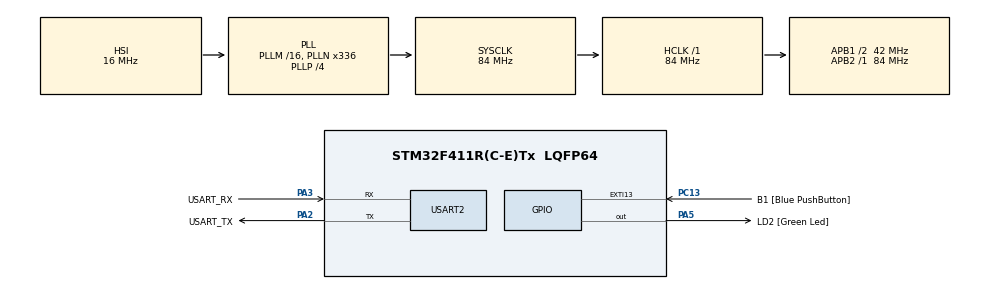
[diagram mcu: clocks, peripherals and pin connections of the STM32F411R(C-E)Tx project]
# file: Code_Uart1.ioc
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Dma.Request0=USART2_RX
Dma.Request1=USART2_TX
Dma.USART2_RX.0.Direction=DMA_PERIPH_TO_MEMORY
Dma.USART2_RX.0.FIFOMode=DMA_FIFOMODE_DISABLE
Dma.USART2_RX.0.Instance=DMA1_Stream5
Dma.USART2_RX.0.MemDataAlignment=DMA_MDATAALIGN_BYTE
Dma.USART2_RX.0.MemInc=DMA_MINC_ENABLE
Dma.USART2_RX.0.Mode=DMA_CIRCULAR
Dma.USART2_RX.0.PeriphDataAlignment=DMA_PDATAALIGN_BYTE
Dma.USART2_RX.0.PeriphInc=DMA_PINC_DISABLE
Dma.USART2_RX.0.Priority=DMA_PRIORITY_LOW
Dma.USART2_TX.1.Direction=DMA_MEMORY_TO_PERIPH
Dma.USART2_TX.1.FIFOMode=DMA_FIFOMODE_DISABLE
Dma.USART2_TX.1.Instance=DMA1_Stream6
Dma.USART2_TX.1.MemDataAlignment=DMA_MDATAALIGN_BYTE
Dma.USART2_TX.1.MemInc=DMA_MINC_ENABLE
Dma.USART2_TX.1.Mode=DMA_NORMAL
Dma.USART2_TX.1.PeriphDataAlignment=DMA_PDATAALIGN_BYTE
Dma.USART2_TX.1.PeriphInc=DMA_PINC_DISABLE
Dma.USART2_TX.1.Priority=DMA_PRIORITY_LOW
Mcu.Family=STM32F4
Mcu.Name=STM32F411R(C-E)Tx
Mcu.Package=LQFP64
NVIC.DMA1_Stream5_IRQn=true\:0\:0\:false\:false\:true\:false\:true\:true
NVIC.DMA1_Stream6_IRQn=true\:0\:0\:false\:false\:true\:false\:true\:true
NVIC.PriorityGroup=NVIC_PRIORITYGROUP_0
NVIC.USART2_IRQn=true\:0\:0\:false\:false\:true\:true\:true\:true
PA13.GPIO_Label=TMS
PA13.Mode=Serial_Wire
PA13.Signal=SYS_JTMS-SWDIO
PA14.GPIO_Label=TCK
PA14.Mode=Serial_Wire
PA14.Signal=SYS_JTCK-SWCLK
PA2.GPIO_Label=USART_TX
PA2.Mode=Asynchronous
PA2.Signal=USART2_TX
PA3.GPIO_Label=USART_RX
PA3.Mode=Asynchronous
PA3.Signal=USART2_RX
PA5.GPIO_Label=LD2 [Green Led]
PA5.Signal=GPIO_Output
PB3.GPIO_Label=SWO
PB3.Signal=SYS_JTDO-SWO
PC13-ANTI_TAMP.GPIO_Label=B1 [Blue PushButton]
PC13-ANTI_TAMP.GPIO_ModeDefaultEXTI=GPIO_MODE_IT_FALLING
PC13-ANTI_TAMP.Signal=GPXTI13
PC14-OSC32_IN.Mode=LSE-External-Oscillator
PC14-OSC32_IN.Signal=RCC_OSC32_IN
PC15-OSC32_OUT.Mode=LSE-External-Oscillator
PC15-OSC32_OUT.Signal=RCC_OSC32_OUT
PH0\ -\ OSC_IN.Mode=HSE-External-Clock-Source
PH0\ -\ OSC_IN.Signal=RCC_OSC_IN
PH1\ -\ OSC_OUT.Mode=HSE-External-Clock-Source
PH1\ -\ OSC_OUT.Signal=RCC_OSC_OUT
ProjectManager.HeapSize=0x200
ProjectManager.StackSize=0x400
ProjectManager.TargetToolchain=STM32CubeIDE
RCC.48MHZClocksFreq_Value=84000000
RCC.AHBFreq_Value=84000000
RCC.APB1CLKDivider=RCC_HCLK_DIV2
RCC.APB1Freq_Value=42000000
RCC.APB1TimFreq_Value=84000000
RCC.APB2Freq_Value=84000000
RCC.APB2TimFreq_Value=84000000
RCC.CortexFreq_Value=84000000
RCC.FLatency-AdvancedSettings=FLASH_LATENCY_2
RCC.HCLKFreq_Value=84000000
RCC.HSE_VALUE=8000000
RCC.HSI_VALUE=16000000
RCC.PLLN=336
RCC.PLLP=RCC_PLLP_DIV4
RCC.SYSCLKFreq_VALUE=84000000
RCC.SYSCLKSource=RCC_SYSCLKSOURCE_PLLCLK
RCC.VCOOutputFreq_Value=336000000
USART2.VirtualMode=VM_ASYNC
board=NUCLEO-F411RE

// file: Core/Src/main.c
/* USER CODE BEGIN Header */
/**
  ******************************************************************************
  * @file           : main.c
  * @brief          : Main program body
  ******************************************************************************
  * @attention
  *
  * Copyright (c) 2023 STMicroelectronics.
  * All rights reserved.
  *
  * This software is licensed under terms that can be found in the LICENSE file
  * in the root directory of this software component.
  * If no LICENSE file comes with this software, it is provided AS-IS.
  *
  ******************************************************************************
  */
/* USER CODE END Header */
#include "main.h"

/* USER CODE BEGIN Includes */
#include "stdio.h"
#include "string.h"
/* USER CODE END Includes */

UART_HandleTypeDef huart2;
DMA_HandleTypeDef hdma_usart2_rx;
DMA_HandleTypeDef hdma_usart2_tx;

/* USER CODE BEGIN PV */
uint8_t RxBuffer[20]; //Size of RX
uint8_t TxBuffer[40]; //Size of TX
/* USER CODE END PV */

void SystemClock_Config(void);
static void MX_GPIO_Init(void);
static void MX_DMA_Init(void);
static void MX_USART2_UART_Init(void);
/* USER CODE BEGIN PFP */
//---- For Polling --------------------------------------------------------------------
void UARTPollingMethod();
void DummyTask();
//---- For interrupt --------------------------------------------------------------------
void UARTInterruptConfig(); // to set interrupt
//---- For DMA --------------------------------------------------------------------
void UARTDMAconfig(); //to set DMA
/* USER CODE END PFP */

int main(void)
{

  /* MCU Configuration--------------------------------------------------------*/

  /* Reset of all peripherals, Initializes the Flash interface and the Systick. */
  HAL_Init();

  /* Configure the system clock */
  SystemClock_Config();

  /* Initialize all configured peripherals */
  MX_GPIO_Init();
  MX_DMA_Init();
  MX_USART2_UART_Init();
  /* USER CODE BEGIN 2 */
  uint8_t text[] = "HELLO FIBO";
  HAL_UART_Transmit(&huart2, text, 11, 10); //Transmit text to F411RE
  //UARTInterruptConfig(); //START INTERRUPT
  UARTDMAConfig(); //START DMA
  /* USER CODE END 2 */

  /* Infinite loop */
  /* USER CODE BEGIN WHILE */
  while (1)
  {
	  /* ------------------------------------------- POLLING -------------------------------------
	  UARTPollingMethod();
	  DummyTask();
	  ---------------------------------------------- Interrupt --------------------------------------*/
	  DummyTask();

    /* USER CODE END WHILE */

  }
}

void SystemClock_Config(void)
{
  RCC_OscInitTypeDef RCC_OscInitStruct = {0};
  RCC_ClkInitTypeDef RCC_ClkInitStruct = {0};

  /** Configure the main internal regulator output voltage
  */
  __HAL_RCC_PWR_CLK_ENABLE();
  __HAL_PWR_VOLTAGESCALING_CONFIG(PWR_REGULATOR_VOLTAGE_SCALE1);

  /** Initializes the RCC Oscillators according to the specified parameters
  * in the RCC_OscInitTypeDef structure.
  */
  RCC_OscInitStruct.OscillatorType = RCC_OSCILLATORTYPE_HSI;
  RCC_OscInitStruct.HSIState = RCC_HSI_ON;
  RCC_OscInitStruct.HSICalibrationValue = RCC_HSICALIBRATION_DEFAULT;
  RCC_OscInitStruct.PLL.PLLState = RCC_PLL_ON;
  RCC_OscInitStruct.PLL.PLLSource = RCC_PLLSOURCE_HSI;
  RCC_OscInitStruct.PLL.PLLM = 16;
  RCC_OscInitStruct.PLL.PLLN = 336;
  RCC_OscInitStruct.PLL.PLLP = RCC_PLLP_DIV4;
  RCC_OscInitStruct.PLL.PLLQ = 4;
  if (HAL_RCC_OscConfig(&RCC_OscInitStruct) != HAL_OK)
  {
    Error_Handler();
  }

  /** Initializes the CPU, AHB and APB buses clocks
  */
  RCC_ClkInitStruct.ClockType = RCC_CLOCKTYPE_HCLK|RCC_CLOCKTYPE_SYSCLK
                              |RCC_CLOCKTYPE_PCLK1|RCC_CLOCKTYPE_PCLK2;
  RCC_ClkInitStruct.SYSCLKSource = RCC_SYSCLKSOURCE_PLLCLK;
  RCC_ClkInitStruct.AHBCLKDivider = RCC_SYSCLK_DIV1;
  RCC_ClkInitStruct.APB1CLKDivider = RCC_HCLK_DIV2;
  RCC_ClkInitStruct.APB2CLKDivider = RCC_HCLK_DIV1;

  if (HAL_RCC_ClockConfig(&RCC_ClkInitStruct, FLASH_LATENCY_2) != HAL_OK)
  {
    Error_Handler();
  }
}

static void MX_USART2_UART_Init(void)
{

  huart2.Instance = USART2;
  huart2.Init.BaudRate = 115200;
  huart2.Init.WordLength = UART_WORDLENGTH_8B;
  huart2.Init.StopBits = UART_STOPBITS_1;
  huart2.Init.Parity = UART_PARITY_NONE;
  huart2.Init.Mode = UART_MODE_TX_RX;
  huart2.Init.HwFlowCtl = UART_HWCONTROL_NONE;
  huart2.Init.OverSampling = UART_OVERSAMPLING_16;
  if (HAL_UART_Init(&huart2) != HAL_OK)
  {
    Error_Handler();
  }

}

static void MX_DMA_Init(void)
{

  /* DMA controller clock enable */
  __HAL_RCC_DMA1_CLK_ENABLE();

  /* DMA interrupt init */
  /* DMA1_Stream5_IRQn interrupt configuration */
  HAL_NVIC_SetPriority(DMA1_Stream5_IRQn, 0, 0);
  HAL_NVIC_EnableIRQ(DMA1_Stream5_IRQn);
  /* DMA1_Stream6_IRQn interrupt configuration */
  HAL_NVIC_SetPriority(DMA1_Stream6_IRQn, 0, 0);
  HAL_NVIC_EnableIRQ(DMA1_Stream6_IRQn);

}

static void MX_GPIO_Init(void)
{
  GPIO_InitTypeDef GPIO_InitStruct = {0};

  /* GPIO Ports Clock Enable */
  __HAL_RCC_GPIOC_CLK_ENABLE();
  __HAL_RCC_GPIOH_CLK_ENABLE();
  __HAL_RCC_GPIOA_CLK_ENABLE();
  __HAL_RCC_GPIOB_CLK_ENABLE();

  /*Configure GPIO pin Output Level */
  HAL_GPIO_WritePin(LD2_GPIO_Port, LD2_Pin, GPIO_PIN_RESET);

  /*Configure GPIO pin : B1_Pin */
  GPIO_InitStruct.Pin = B1_Pin;
  GPIO_InitStruct.Mode = GPIO_MODE_IT_FALLING;
  GPIO_InitStruct.Pull = GPIO_NOPULL;
  HAL_GPIO_Init(B1_GPIO_Port, &GPIO_InitStruct);

  /*Configure GPIO pin : LD2_Pin */
  GPIO_InitStruct.Pin = LD2_Pin;
  GPIO_InitStruct.Mode = GPIO_MODE_OUTPUT_PP;
  GPIO_InitStruct.Pull = GPIO_NOPULL;
  GPIO_InitStruct.Speed = GPIO_SPEED_FREQ_LOW;
  HAL_GPIO_Init(LD2_GPIO_Port, &GPIO_InitStruct);

}

/* USER CODE BEGIN 4 */
// ------------------------------ Polling Fnc -----------------------------/
/*void UARTPollingMethod(){
	HAL_StatusTypeDef HAL_status = HAL_UART_Receive(&huart2, RxBuffer, 10, 10000);

	if(HAL_status == HAL_OK){
		RxBuffer[10] = '\0'; //Auto End word

		sprintf((char*)TxBuffer,"Received : %s\r\n", RxBuffer);
		HAL_UART_Transmit(&huart2, TxBuffer, strlen((char*)TxBuffer), 10);
	}

	else if(HAL_status == HAL_TIMEOUT){
		uint32_t lastCharPos = huart2.RxXferSize - huart2.RxXferCount;
		RxBuffer[lastCharPos] = '\0';

		sprintf((char*)TxBuffer,"Received Timeout : %s\r\n",RxBuffer);
		HAL_UART_Transmit(&huart2, TxBuffer, strlen((char*)TxBuffer), 10);
	}
}*/
// ------------------------------ Interrupt Fnc -----------------------------
/*void UARTInterruptConfig(){
	HAL_UART_Receive_IT(&huart2, RxBuffer, 10); // START Interrupt
}
void HAL_UART_RxCpltCallback(UART_HandleTypeDef *huart){
	if(huart == &huart2){
		RxBuffer[10] = '\0';

		sprintf((char*)TxBuffer,"Received Timeout : %s\r\n",RxBuffer);
		HAL_UART_Transmit_IT(&huart2, TxBuffer, strlen((char*)TxBuffer));

		HAL_UART_Receive_IT(&huart2, RxBuffer, 10);
	}
}*/
//--------------------------------- DMA Fnc -----------------------------
void UARTDMAConfig(){
	HAL_UART_Receive_DMA(&huart2, RxBuffer, 10); // START DMA
}
void HAL_UART_RxCpltCallback(UART_HandleTypeDef *huart){
	if(huart == &huart2){
		RxBuffer[10] = '\0';

		sprintf((char*)TxBuffer,"Received Timeout : %s\r\n",RxBuffer);
		HAL_UART_Transmit_DMA(&huart2, TxBuffer, strlen((char*)TxBuffer));
	}
}
//---------------------------------- For check LED -----------------------------*/
void DummyTask(){
	static uint32_t timestamp = 0;
	if(HAL_GetTick() >= timestamp){
		timestamp = HAL_GetTick() + 100;
		HAL_GPIO_TogglePin(LD2_GPIO_Port, LD2_Pin);
	}
}
/* USER CODE END 4 */

void Error_Handler(void)
{
  __disable_irq();
  while (1)
  {
  }
}
